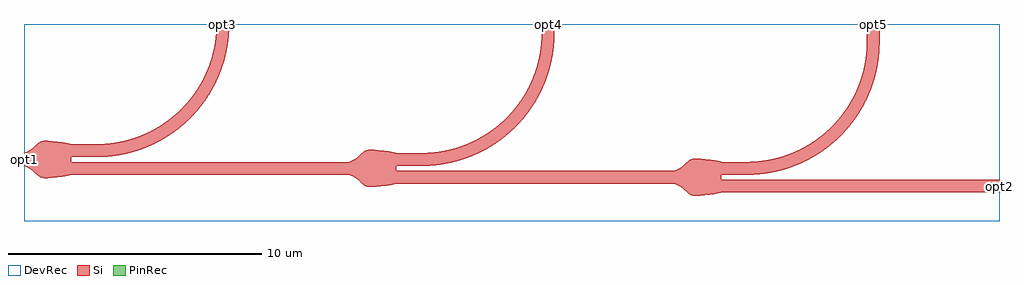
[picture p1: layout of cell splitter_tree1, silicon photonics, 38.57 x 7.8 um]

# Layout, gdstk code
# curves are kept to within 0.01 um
import gdstk
lib = gdstk.Library(unit=1e-6, precision=1e-09)
def R(c, l, rs):  # rectangles x0, y0, x1, y1
    for r in rs: c.add(gdstk.rectangle(r[:2], r[2:], *l))
def P(c, l, *ps):  # polygons
    for p in ps: c.add(gdstk.Polygon(p, *l))
Si = (1, 0)
PinRec = (1, 10)
DevRec = (68, 0)

device = lib.new_cell('device')
R(device, Si, [(1.85,-0.6,2.85,-0.1), (1.85,0.1,2.85,0.6)])
P(device, Si, [(0.097,-0.291),(0,-0.25),(0,0.25),(0.098,0.291)],
  [(0.194,-0.339),(0.098,-0.291),(0.098,0.291),(0.195,0.339)],
  [(0.291,-0.402),(0.195,-0.339),(0.195,0.339),(0.292,0.402)],
  [(0.39,-0.486),(0.292,-0.402),(0.292,0.402),(0.39,0.486)],
  [(0.487,-0.578),(0.39,-0.486),(0.39,0.486),(0.487,0.578)],
  [(0.584,-0.658),(0.487,-0.578),(0.487,0.578),(0.584,0.658)],
  [(0.681,-0.71),(0.584,-0.658),(0.584,0.658),(0.681,0.71)],
  [(0.773,-0.732),(0.681,-0.71),(0.681,0.71),(0.779,0.732)],
  [(0.83,-0.736),(0.779,-0.732),(0.779,0.732),(0.858,0.736),(0.876,0.735),(0.876,-0.735)],
  [(0.876,-0.735),(0.876,0.735),(0.887,0.735),(0.974,0.728),(0.974,-0.728)],
  [(0.974,-0.728),(0.977,0.728),(1.071,0.717),(1.071,-0.717)],
  [(1.071,-0.717),(1.074,0.717),(1.169,0.705),(1.169,-0.705)],
  [(1.169,-0.705),(1.172,0.705),(1.266,0.694),(1.266,-0.694)],
  [(1.266,-0.694),(1.266,0.694),(1.276,0.694),(1.363,0.686),(1.363,-0.686)],
  [(1.363,-0.686),(1.368,0.686),(1.46,0.677),(1.46,-0.677)],
  [(1.46,-0.677),(1.463,0.677),(1.558,0.664),(1.558,-0.664)],
  [(1.558,-0.664),(1.56,0.664),(1.655,0.646),(1.655,-0.646)],
  [(1.655,-0.646),(1.656,0.646),(1.752,0.624),(1.752,-0.624)],
  [(1.752,-0.624),(1.754,0.624),(1.85,0.6),(1.85,-0.6)])

c_wg = lib.new_cell('WG')
R(c_wg, Si, [(0,-0.95,10,-0.45)])
P(c_wg, Si, [(0,-0.25),(0,0.25),(0.311,0.26),(0.641,0.293),(0.891,0.334),(1.251,0.418),(2.562,0.418),(2.281,0.271),(1.962,0.13),(1.615,0.004),(1.319,-0.082),(0.959,-0.162),(0.634,-0.212)],
  [(4.356,3.106),(4.539,3.599),(4.666,4.109),(4.731,4.572),(4.75,5),(5.25,5),(5.231,4.549),(5.162,4.041),(5.044,3.542),(4.896,3.106)],
  [(2.783,0.548),(2.783,1.151),(3.19,1.481),(3.896,1.481),(3.669,1.244),(3.333,0.943),(3.073,0.743)],
  [(1.251,0.418),(1.641,0.542),(2.036,0.708),(2.448,0.929),(2.783,1.151),(2.783,0.548),(2.562,0.418)],
  [(3.19,1.481),(3.474,1.76),(3.74,2.071),(3.967,2.387),(4.149,2.687),(4.149,1.783),(4.134,1.763),(3.896,1.481)],
  [(4.149,1.783),(4.149,2.687),(4.356,3.106),(4.896,3.106),(4.738,2.738),(4.577,2.428),(4.374,2.096)])

splitter_tree = lib.new_cell('splitter_tree')
splitter_tree.add(gdstk.Reference(device, (0,1.436)))
splitter_tree.add(gdstk.Reference(device, (12.85,1.086)))
splitter_tree.add(gdstk.Reference(device, (25.7,0.736)))
splitter_tree.add(gdstk.Reference(c_wg, (2.85,1.786)))
splitter_tree.add(gdstk.Reference(c_wg, (15.7,1.436)))
splitter_tree.add(gdstk.Reference(c_wg, (28.55,1.086)))

splitter_tree1 = lib.new_cell('splitter_tree1')
R(splitter_tree1, Si, [(33.3,6.086,33.8,6.786), (20.45,6.436,20.95,6.786)])
R(splitter_tree1, DevRec, [(0,-1,38.55,6.786)])
splitter_tree1.add(gdstk.FlexPath([(0.01,1.436),(-0.01,1.436)], 0.5, ends="flush", simple_path=True, layer=1, datatype=10))  # PinRec
splitter_tree1.add(gdstk.FlexPath([(38.54,0.386),(38.56,0.386)], 0.5, ends="flush", simple_path=True, layer=1, datatype=10))  # PinRec
splitter_tree1.add(gdstk.FlexPath([(7.85,6.776),(7.85,6.796)], 0.5, ends="flush", simple_path=True, layer=1, datatype=10))  # PinRec
splitter_tree1.add(gdstk.FlexPath([(20.7,6.776),(20.7,6.796)], 0.5, ends="flush", simple_path=True, layer=1, datatype=10))  # PinRec
splitter_tree1.add(gdstk.FlexPath([(33.55,6.776),(33.55,6.796)], 0.5, ends="flush", simple_path=True, layer=1, datatype=10))  # PinRec
splitter_tree1.add(gdstk.Reference(splitter_tree, (0,0)))
splitter_tree1.add(gdstk.Label('opt1', (0,1.436), layer=1, texttype=10))
splitter_tree1.add(gdstk.Label('opt2', (38.55,0.386), layer=1, texttype=10))
splitter_tree1.add(gdstk.Label('opt3', (7.85,6.786), layer=1, texttype=10))
splitter_tree1.add(gdstk.Label('opt4', (20.7,6.786), layer=1, texttype=10))
splitter_tree1.add(gdstk.Label('opt5', (33.55,6.786), layer=1, texttype=10))

lib.write_gds('splitter_tree1.gds')
